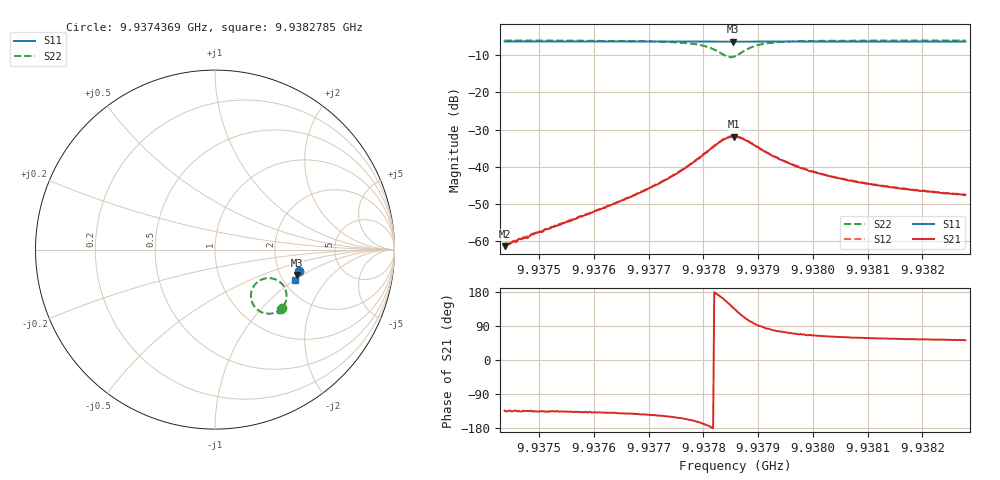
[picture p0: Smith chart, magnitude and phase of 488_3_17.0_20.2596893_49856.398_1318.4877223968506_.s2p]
#  HZ  S  RI  R  50.00
! Rohde & Schwarz Vector Network Analyzer
! Rohde-Schwarz,ZNB20-2Port,1311601062101988,3.16
! Created: UTC 3/20/2024, 11:13:58 PM
! freq[Hz]  re:S11  im:S11  re:S21  im:S21  re:S12  im:S12  re:S22  im:S22
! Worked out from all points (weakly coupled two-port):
!   401 points, 9.9374369 GHz to 9.9382785 GHz, reference 50 ohm
!   highest |S21| = -31.90 dB at 9.9378556 GHz (marker M1); lowest = -61.3 dB at 9.9374369 GHz (marker M2)
!   lowest |S11| = -6.4 dB at 9.9378535 GHz (marker M3), VSWR 2.83, Z = 122 - j45.3 ohm
!   |S11| at or under -10 dB: nowhere
!   |S22| runs from -10.6 to -6.1 dB; largest |S21 - S12| = 0.0011
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9.9374369e9  0.4684 -0.1175  -0.000592 -0.000624  -0.000617 -0.000635  0.375 -0.3259
9.93744742e9  0.4681 -0.1182  -0.000654 -0.00069  -0.000666 -0.000644  0.3741 -0.3266
9.9374895e9  0.4673 -0.1211  -0.000892 -0.000851  -0.000899 -0.000895  0.3702 -0.3301
9.93757787e9  0.4653 -0.127  -0.00158 -0.00145  -0.00163 -0.00144  0.3597 -0.338
9.93765782e9  0.4634 -0.1324  -0.00291 -0.00231  -0.00296 -0.00232  0.3442 -0.3468
9.93771883e9  0.4617 -0.1366  -0.00498 -0.00327  -0.00513 -0.00326  0.3232 -0.3545
9.9377567e9  0.4605 -0.1392  -0.0077 -0.00393  -0.00786 -0.00384  0.299 -0.3572
9.93780299e9  0.4585 -0.1422  -0.015 -0.00256  -0.0152 -0.00235  0.242 -0.3389
9.93781982e9  0.4575 -0.1429  -0.0189 0.000505  -0.0193 0.00117  0.2135 -0.3078
9.93783455e9  0.4567 -0.1433  -0.0218 0.0063  -0.0219 0.00722  0.1999 -0.2578
9.93784507e9  0.4565 -0.1433  -0.0214 0.0123  -0.0216 0.0131  0.2107 -0.2133
9.93785348e9  0.4563 -0.1432  -0.0191 0.0167  -0.019 0.0176  0.2354 -0.182
9.93785559e9  0.4565 -0.1432  -0.0183 0.0176  -0.0181 0.0184  0.2435 -0.176
9.93785769e9  0.4564 -0.1432  -0.0174 0.0183  -0.017 0.0194  0.2519 -0.1707
9.93786821e9  0.4567 -0.1434  -0.0119 0.0212  -0.0116 0.0218  0.2971 -0.1586
9.93788294e9  0.4572 -0.1442  -0.00519 0.0212  -0.00467 0.0215  0.3493 -0.172
9.93790819e9  0.4575 -0.1462  0.000891 0.0168  0.00151 0.0167  0.3896 -0.2162
9.93794185e9  0.4569 -0.1489  0.00328 0.0119  0.00363 0.0119  0.399 -0.2576
9.93799866e9  0.4555 -0.153  0.00366 0.00783  0.00383 0.00783  0.3933 -0.2926
9.93805757e9  0.4543 -0.1571  0.00333 0.00585  0.00353 0.00586  0.3851 -0.3103
9.93813962e9  0.4518 -0.1625  0.00297 0.00443  0.00312 0.00444  0.3761 -0.3243
9.93827848e9  0.4481 -0.1714  0.00255 0.0033  0.00262 0.00333  0.3638 -0.3389
